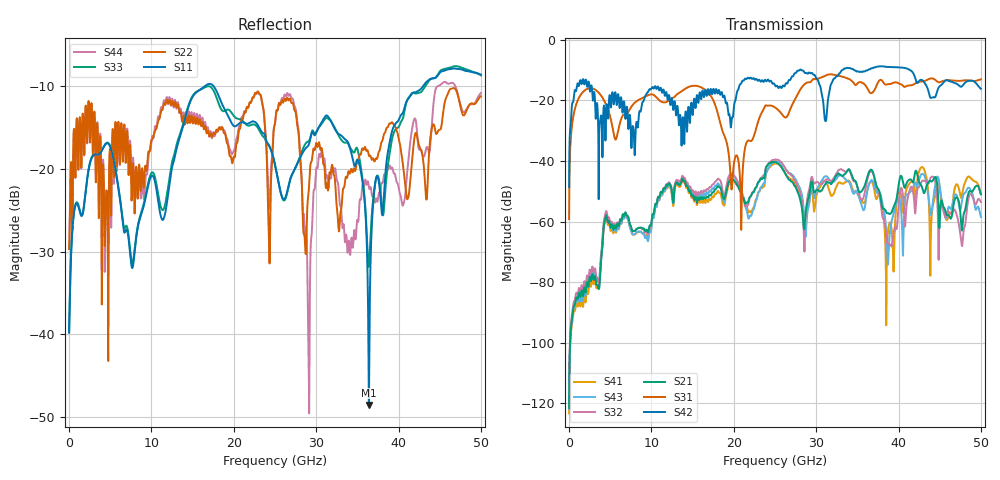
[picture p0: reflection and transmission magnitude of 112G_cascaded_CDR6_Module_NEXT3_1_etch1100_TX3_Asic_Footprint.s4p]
! Created Wed Feb 27 12:23:10 2019
# hz S ma R 50
! 4 Port Network Data from SP1.SP block
! freq  magS11  angS11  magS12  angS12  magS13  angS13  magS14  angS14
!  magS21  angS21  magS22  angS22  magS23  angS23  magS24  angS24
!  magS31  angS31  magS32  angS32  magS33  angS33  magS34  angS34
!  magS41  angS41  magS42  angS42  magS43  angS43  magS44  angS44
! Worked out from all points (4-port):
!   5000 points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, 10 MHz to 50 GHz, reference 50 ohm
!   strongest paths, dB at 10 MHz, 12.51 GHz, 25.01 GHz, 37.51 GHz, 50 GHz:
!     S42: -48.6, -19.6, -15.1, -8.8, -16.1
!     S31: -59.1, -19.1, -22.3, -14.0, -13.0
!     S21: -121.5, -50.6, -40.3, -49.1, -51.0
!     S32: -120.1, -50.1, -39.5, -49.8, -53.5
!     S43: -121.8, -51.2, -40.1, -50.3, -58.4
!     S41: -123.2, -51.8, -40.8, -51.3, -50.9
!   lowest |S11| = -48.5 dB at 36.4 GHz (marker M1), VSWR 1.01, Z = 49.6 - j0.0712 ohm
!   |S11| at or under -10 dB: start of sweep to 16.5 GHz; 17.53 GHz to 43 GHz (25.47 GHz wide, 84.2 % of centre)
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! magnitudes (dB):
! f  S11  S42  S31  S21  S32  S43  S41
! 10 MHz  -39.8  -48.6  -59.1  -121.5  -120.1  -121.8  -123.2
! 2.31 GHz  -20.4  -14.2  -16.1  -81.5  -79.2  -81.4  -83.9
! 16.31 GHz  -10.1  -18.1  -16.1  -52.2  -49.9  -50.9  -53.1
! 20.88 GHz  -14.4  -14.5  -58.8  -50.4  -49.5  -49.2  -50.1
! 36.4 GHz  -48.5  -9.7  -16.9  -43.7  -44.3  -47.9  -47.8
! 38.95 GHz  -16.7  -8.9  -14.6  -57.5  -67.5  -63.7  -60.3
! 50 GHz  -8.6  -16.1  -13.0  -51.0  -53.5  -58.4  -50.9
